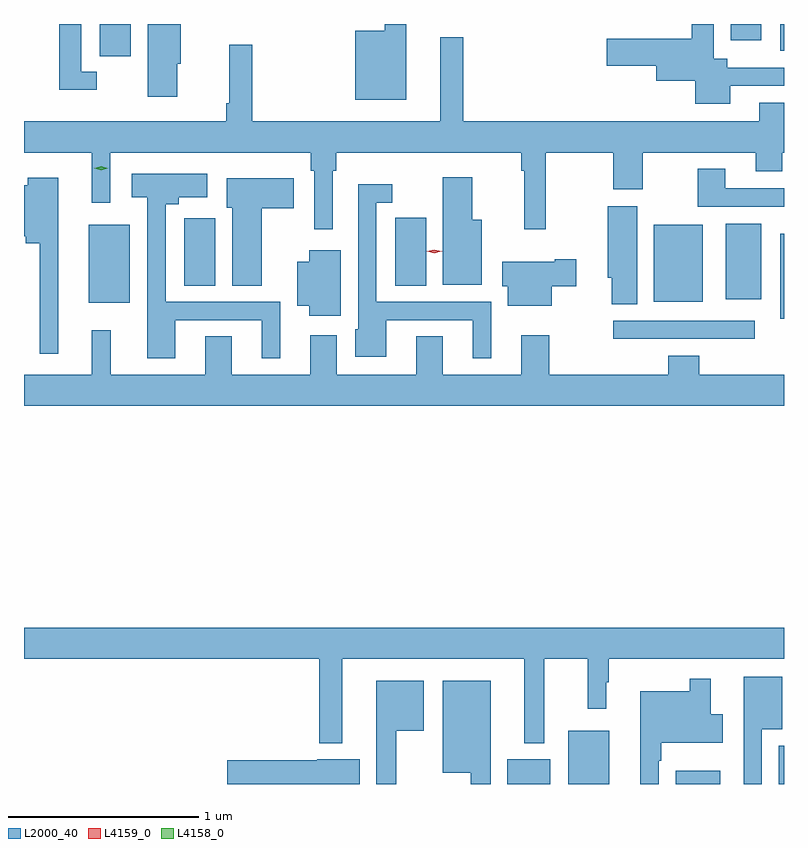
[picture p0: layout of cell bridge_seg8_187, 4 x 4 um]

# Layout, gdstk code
import gdstk
lib = gdstk.Library(unit=1e-6, precision=1e-09)
def R(c, l, rs):  # rectangles x0, y0, x1, y1
    for r in rs: c.add(gdstk.rectangle(r[:2], r[2:], *l))
def P(c, l, *ps):  # polygons
    for p in ps: c.add(gdstk.Polygon(p, *l))
L2000_40 = (2000, 40)
L4158_0 = (4158, 0)
L4159_0 = (4159, 0)

bridge_seg8_187 = lib.new_cell('bridge_seg8_187')
R(bridge_seg8_187, L2000_40, [(328.649,1086.537,328.876,1086.667), (328.97,1086.537,329.185,1086.817), (329.534,1086.537,329.77,1086.607), (330.077,1086.537,330.105,1086.739), (329.205,1088.88,329.95,1088.976), (330.086,1088.985,330.105,1089.433), (326.447,1089.071,326.662,1089.481), (329.42,1089.074,329.677,1089.481), (329.798,1089.089,329.986,1089.487), (328.058,1089.16,328.222,1089.517), (326.504,1090.368,326.668,1090.537), (330.086,1090.397,330.105,1090.537), (329.825,1090.452,329.986,1090.537), (328.518,1090.535,328.903,1090.537)])
P(bridge_seg8_187, L2000_40, [(328.117,1090.537),(328.003,1090.537),(328.003,1090.501),(327.848,1090.501),(327.848,1090.139),(328.117,1090.139)],
  [(329.821,1090.212),(330.105,1090.212),(330.105,1090.308),(329.806,1090.308),(329.806,1090.354),(329.736,1090.354),(329.736,1090.537),(329.62,1090.537),(329.62,1090.46),(329.172,1090.46),(329.172,1090.318),(329.432,1090.318),(329.432,1090.238),(329.639,1090.238),(329.639,1090.118),(329.821,1090.118)],
  [(326.488,1090.287),(326.406,1090.287),(326.406,1090.537),(326.29,1090.537),(326.29,1090.19),(326.488,1090.19)],
  [(326.911,1090.329),(326.929,1090.329),(326.929,1090.537),(326.756,1090.537),(326.756,1090.155),(326.911,1090.155)],
  [(327.73,1089.764),(327.749,1089.764),(327.749,1089.86),(328.723,1089.86),(328.723,1089.764),(328.738,1089.764),(328.738,1089.456),(328.852,1089.456),(328.852,1089.86),(329.206,1089.86),(329.206,1089.666),(329.361,1089.666),(329.361,1089.86),(329.957,1089.86),(329.957,1089.761),(330.097,1089.761),(330.097,1089.86),(330.105,1089.86),(330.105,1090.123),(329.975,1090.123),(329.975,1090.024),(328.417,1090.024),(328.417,1090.468),(328.295,1090.468),(328.295,1090.024),(327.305,1090.024),(327.305,1090.429),(327.184,1090.429),(327.184,1090.12),(327.169,1090.12),(327.169,1090.024),(326.105,1090.024),(326.105,1089.86),(326.462,1089.86),(326.462,1089.597),(326.559,1089.597),(326.559,1089.86),(327.613,1089.86),(327.613,1089.764),(327.633,1089.764),(327.633,1089.456),(327.73,1089.456)],
  [(330.105,1089.672),(329.797,1089.672),(329.797,1089.775),(329.65,1089.775),(329.65,1089.576),(330.105,1089.576)],
  [(326.902,1088.979),(327.356,1088.979),(327.356,1088.778),(327.454,1088.778),(327.454,1089.075),(326.85,1089.075),(326.85,1089.589),(326.92,1089.589),(326.92,1089.626),(327.07,1089.626),(327.07,1089.748),(326.673,1089.748),(326.673,1089.626),(326.754,1089.626),(326.754,1088.778),(326.902,1088.778)],
  [(328.513,1089.508),(328.465,1089.508),(328.465,1089.73),(328.31,1089.73),(328.31,1089.164),(328.513,1089.164)],
  [(326.284,1089.727),(326.126,1089.727),(326.126,1089.688),(326.105,1089.688),(326.105,1089.419),(326.114,1089.419),(326.114,1089.383),(326.187,1089.383),(326.187,1088.802),(326.284,1088.802)],
  [(327.355,1089.566),(327.526,1089.566),(327.526,1089.724),(327.173,1089.724),(327.173,1089.57),(327.2,1089.57),(327.2,1089.16),(327.355,1089.16)],
  [(328.564,1089.075),(327.96,1089.075),(327.96,1089.597),(328.042,1089.597),(328.042,1089.694),(327.863,1089.694),(327.863,1089.468),(327.864,1089.468),(327.864,1088.931),(327.848,1088.931),(327.848,1088.786),(328.012,1088.786),(328.012,1088.979),(328.466,1088.979),(328.466,1088.778),(328.564,1088.778)],
  [(329.332,1089.577),(329.177,1089.577),(329.177,1089.201),(329.198,1089.201),(329.198,1089.061),(329.332,1089.061)],
  [(327.112,1089.514),(326.949,1089.514),(326.949,1089.401),(326.948,1089.401),(326.948,1089.16),(327.112,1089.16)],
  [(327.772,1089.346),(327.605,1089.346),(327.605,1089.286),(327.542,1089.286),(327.542,1089.053),(327.605,1089.053),(327.605,1089.002),(327.772,1089.002)],
  [(328.882,1089.157),(329.011,1089.157),(329.011,1089.299),(328.898,1089.299),(328.898,1089.286),(328.622,1089.286),(328.622,1089.157),(328.652,1089.157),(328.652,1089.053),(328.882,1089.053)],
  [(330.105,1088.692),(329.66,1088.692),(329.66,1088.791),(329.495,1088.791),(329.495,1088.692),(328.869,1088.692),(328.869,1088.899),(328.721,1088.899),(328.721,1088.692),(328.309,1088.692),(328.309,1088.894),(328.169,1088.894),(328.169,1088.692),(327.751,1088.692),(327.751,1088.899),(327.611,1088.899),(327.611,1088.692),(327.199,1088.692),(327.199,1088.894),(327.059,1088.894),(327.059,1088.692),(326.561,1088.692),(326.561,1088.926),(326.462,1088.926),(326.462,1088.692),(326.105,1088.692),(326.105,1088.528),(330.105,1088.528)],
  [(327.781,1087.196),(328.739,1087.196),(328.739,1086.752),(328.843,1086.752),(328.843,1087.196),(329.071,1087.196),(329.071,1086.933),(329.17,1086.933),(329.17,1087.073),(329.182,1087.073),(329.182,1087.196),(330.105,1087.196),(330.105,1087.36),(326.105,1087.36),(326.105,1087.196),(327.66,1087.196),(327.66,1086.752),(327.781,1086.752)],
  [(329.988,1086.824),(330.097,1086.824),(330.097,1087.102),(329.892,1087.102),(329.892,1086.537),(329.988,1086.537)],
  [(329.445,1086.659),(329.458,1086.659),(329.458,1086.755),(329.782,1086.755),(329.782,1086.903),(329.719,1086.903),(329.719,1087.09),(329.61,1087.09),(329.61,1087.024),(329.348,1087.024),(329.348,1086.537),(329.445,1086.537)],
  [(328.063,1086.818),(328.21,1086.818),(328.21,1087.081),(327.959,1087.081),(327.959,1086.537),(328.063,1086.537)],
  [(328.561,1087.081),(328.31,1087.081),(328.31,1086.596),(328.457,1086.596),(328.457,1086.537),(328.561,1086.537)],
  [(327.871,1086.667),(327.648,1086.667),(327.648,1086.662),(327.174,1086.662),(327.174,1086.537),(327.871,1086.537)])
P(bridge_seg8_187, L4158_0, [(326.511,1089.768),(326.476,1089.778),(326.476,1089.778),(326.476,1089.778),(326.511,1089.788),(326.546,1089.778),(326.547,1089.778),(326.546,1089.778)])
P(bridge_seg8_187, L4159_0, [(328.265,1089.33),(328.226,1089.34),(328.226,1089.34),(328.226,1089.341),(328.265,1089.35),(328.304,1089.341),(328.305,1089.34),(328.304,1089.34)])

lib.write_gds('bridge_seg8_187.gds')
